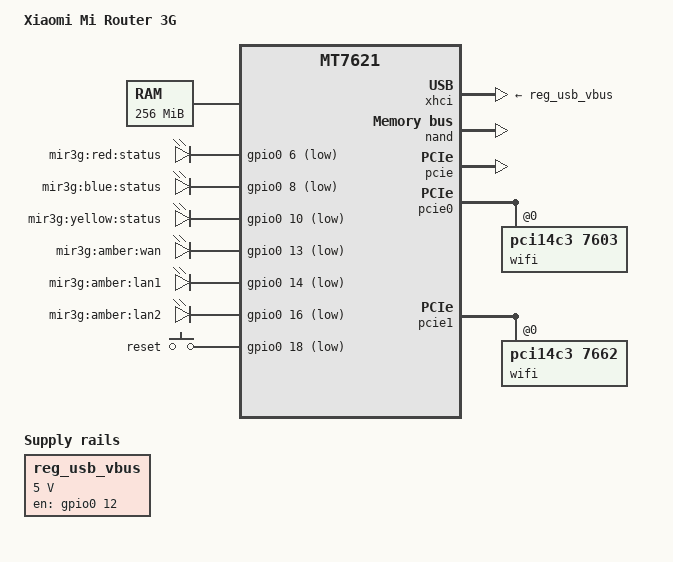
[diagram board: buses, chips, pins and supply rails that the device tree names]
/dts-v1/;

#include "mt7621.dtsi"

#include <dt-bindings/gpio/gpio.h>
#include <dt-bindings/input/input.h>

/ {
	compatible = "xiaomi,mir3g", "mediatek,mt7621-soc";
	model = "Xiaomi Mi Router 3G";

	aliases {
		led-boot = &led_status_yellow;
		led-failsafe = &led_status_red;
		led-running = &led_status_blue;
		led-upgrade = &led_status_yellow;
	};

	memory@0 {
		device_type = "memory";
		reg = <0x0 0x10000000>;
	};

	chosen {
		bootargs = "console=ttyS0,115200n8";
	};

	leds {
		compatible = "gpio-leds";

		led_status_red: status_red {
			label = "mir3g:red:status";
			gpios = <&gpio0 6 GPIO_ACTIVE_LOW>;
		};

		led_status_blue: status_blue {
			label = "mir3g:blue:status";
			gpios = <&gpio0 8 GPIO_ACTIVE_LOW>;
		};

		led_status_yellow: status_yellow {
			label = "mir3g:yellow:status";
			gpios = <&gpio0 10 GPIO_ACTIVE_LOW>;
		};

		wan_amber {
			label = "mir3g:amber:wan";
			gpios = <&gpio0 13 GPIO_ACTIVE_LOW>;
		};

		lan1_amber {
			label = "mir3g:amber:lan1";
			gpios = <&gpio0 14 GPIO_ACTIVE_LOW>;
		};

		lan2_amber {
			label = "mir3g:amber:lan2";
			gpios = <&gpio0 16 GPIO_ACTIVE_LOW>;
		};
	};

	button {
		compatible = "gpio-keys-polled";
		poll-interval = <20>;

		reset {
			label = "reset";
			gpios = <&gpio0 18 GPIO_ACTIVE_LOW>;
			linux,code = <KEY_RESTART>;
		};
	};

	reg_usb_vbus: regulator {
		compatible = "regulator-fixed";
		regulator-name = "usb_vbus";
		regulator-min-microvolt = <5000000>;
		regulator-max-microvolt = <5000000>;
		gpio = <&gpio0 12 GPIO_ACTIVE_HIGH>;
		enable-active-high;
	};
};

&xhci {
	vbus-supply = <&reg_usb_vbus>;
};

&nand {
	status = "okay";

	partitions {
		compatible = "fixed-partitions";
		#address-cells = <1>;
		#size-cells = <1>;

		partition@0 {
			label = "u-boot";
			reg = <0x0 0x80000>;
			read-only;
		};

		partition@80000 {
			label = "debug";
			reg = <0x80000 0x80000>;
			read-only;
		};

		factory: partition@100000 {
			label = "factory";
			reg = <0x100000 0x40000>;
			read-only;
		};

		partition@140000 {
			label = "kernel";
			reg = <0x140000 0x200000>;
		};

		partition@340000 {
			label = "ubi";
			reg = <0x340000 0x1E00000>;
		};

		partition@2140000 {
			label = "hw_panic";
			reg = <0x2140000 0x80000>;
			read-only;
		};

		partition@21c0000 {
			label = "bdinfo";
			reg = <0x21c0000 0x80000>;
			read-only;
		};

		partition@2240000 {
			label = "backup";
			reg = <0x2240000 0x80000>;
			read-only;
		};

		partition@22c0000 {
			label = "overly";
			reg = <0x22c0000 0x1000000>;
		};

		partition@32c0000 {
			label = "firmware_backup";
			reg = <0x32c0000 0x2000000>;
		};

		partition@52c0000 {
			label = "oem";
			reg = <0x52c0000 0x200000>;
		};

		partition@54c0000 {
			label = "opt";
			reg = <0x54c0000 0x2ac0000>;
		};
	};
};

&pcie {
	status = "okay";
};

&pcie0 {
	wifi@0,0 {
		compatible = "pci14c3,7603";
		reg = <0x0000 0 0 0 0>;
		mediatek,mtd-eeprom = <&factory 0x0000>;
		ieee80211-freq-limit = <2400000 2500000>;
	};
};

&pcie1 {
	wifi@0,0 {
		compatible = "pci14c3,7662";
		reg = <0x0000 0 0 0 0>;
		mediatek,mtd-eeprom = <&factory 0x8000>;
		ieee80211-freq-limit = <5000000 6000000>;
	};
};

&ethernet {
	mtd-mac-address = <&factory 0xe000>;
	mediatek,portmap = "lwlll";
};

&pinctrl {
	state_default: pinctrl0 {
		gpio {
			ralink,group = "jtag", "uart2", "uart3", "wdt";
			ralink,function = "gpio";
		};
	};
};
